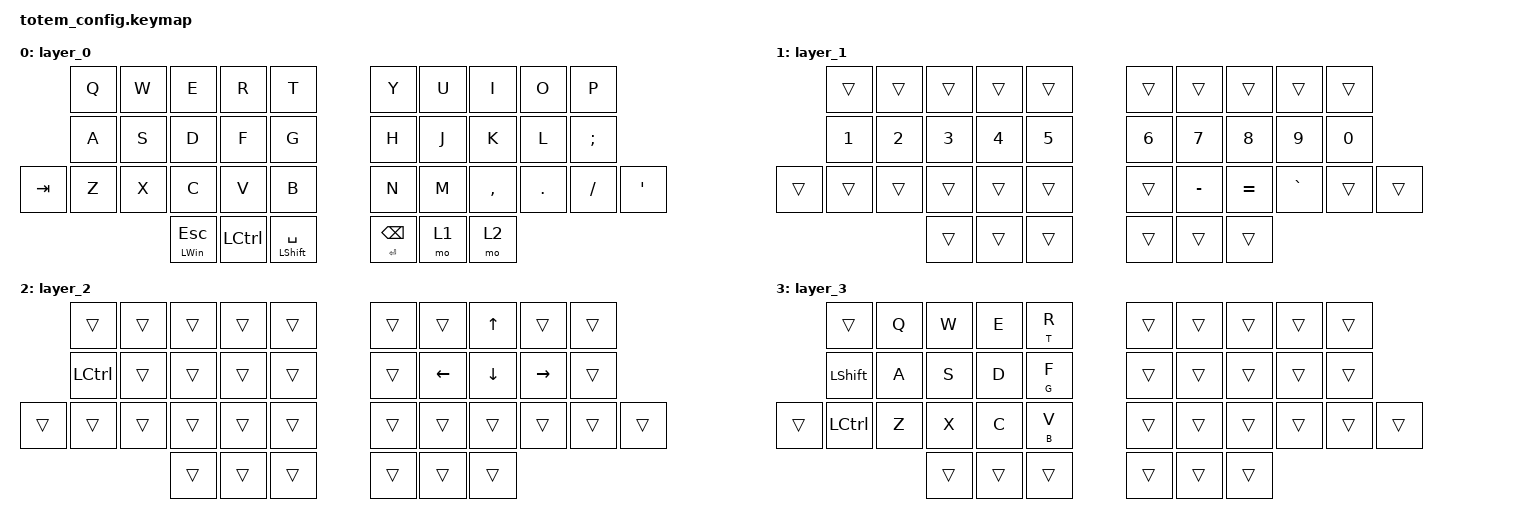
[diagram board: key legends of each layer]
// This file was generated from a template. Edit it to match your keyboard.
// See https://zmk.dev/docs/development/hardware-integration/new-shield for more instructions.

#include <behaviors.dtsi>
#include <dt-bindings/zmk/keys.h>

/ {
    keymap {
        compatible = "zmk,keymap";

        layer_0 {
            bindings = <
         &kp Q  &kp W  &kp E                &kp R      &kp T                   &kp Y                &kp U  &kp I      &kp O    &kp P
         &kp A  &kp S  &kp D                &kp F      &kp G                   &kp H                &kp J  &kp K      &kp L    &kp SEMI
&kp TAB  &kp Z  &kp X  &kp C                &kp V      &kp B                   &kp N                &kp M  &kp COMMA  &kp DOT  &kp FSLH  &kp APOSTROPHE
                       &mt LEFT_WIN ESCAPE  &kp LCTRL  &mt LEFT_SHIFT SPACE    &mt ENTER BACKSPACE  &mo 1  &mo 2
            >;
        };

        layer_1 {
            bindings = <
        &trans  &trans  &trans  &trans  &trans    &trans  &trans     &trans     &trans     &trans
        &kp N1  &kp N2  &kp N3  &kp N4  &kp N5    &kp N6  &kp N7     &kp N8     &kp N9     &kp N0
&trans  &trans  &trans  &trans  &trans  &trans    &trans  &kp MINUS  &kp EQUAL  &kp GRAVE  &trans  &trans
                        &trans  &trans  &trans    &trans  &trans     &trans
            >;
        };

        layer_2 {
            bindings = <
        &trans     &trans  &trans  &trans  &trans    &trans  &trans    &kp UP    &trans     &trans
        &kp LCTRL  &trans  &trans  &trans  &trans    &trans  &kp LEFT  &kp DOWN  &kp RIGHT  &trans
&trans  &trans     &trans  &trans  &trans  &trans    &trans  &trans    &trans    &trans     &trans  &trans
                           &trans  &trans  &trans    &trans  &trans    &trans
            >;
        };

        layer_3 {
            bindings = <
        &trans     &kp Q  &kp W   &kp E   &mt T R    &trans  &trans  &trans  &trans  &trans
        &kp LSHFT  &kp A  &kp S   &kp D   &mt G F    &trans  &trans  &trans  &trans  &trans
&trans  &kp LCTRL  &kp Z  &kp X   &kp C   &mt B V    &trans  &trans  &trans  &trans  &trans  &trans
                          &trans  &trans  &trans     &trans  &trans  &trans
            >;
        };
    };
};
